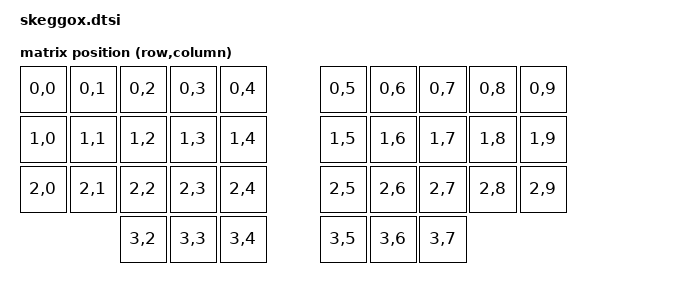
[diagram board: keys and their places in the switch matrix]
/*
 * Copyright (c) 2022 The ZMK Contributors
 *
 * SPDX-License-Identifier: MIT
 */

#include <dt-bindings/zmk/matrix_transform.h>
#include "skeggox-layout.dtsi"

&split_skeggox_layout {
    transform = <&default_transform>;
};

/ {
    chosen {
        zmk,kscan = &kscan0;
	zmk,physical_layout = &split_skeggox_layout;
        // zmk,matrix_transform = &default_transform;
    };

    default_transform: keymap_transform_0 {
        compatible = "zmk,matrix-transform";
        columns = <10>;
        rows = <4>;
//             | SW01  | SW02  | SW03  | SW04  | SW05  |  | SW05  | SW04  | SW03  | SW02  | SW01  |
//             | SW06  | SW07  | SW08  | SW09  | SW10  |  | SW10  | SW09  | SW08  | SW07  | SW06  | 
//             | SW11  | SW12  | SW13  | SW14  | SW15  |  | SW15  | SW14  | SW13  | SW12  | SW11  |
//                             | SW17  | SW18  | SW19  |  | SW19  | SW18  | SW17  | 
        map = <
                RC(0,0) RC(0,1) RC(0,2) RC(0,3) RC(0,4)    RC(0,5) RC(0,6) RC(0,7) RC(0,8) RC(0,9)
                RC(1,0) RC(1,1) RC(1,2) RC(1,3) RC(1,4)    RC(1,5) RC(1,6) RC(1,7) RC(1,8) RC(1,9)
                RC(2,0) RC(2,1) RC(2,2) RC(2,3) RC(2,4)    RC(2,5) RC(2,6) RC(2,7) RC(2,8) RC(2,9)
                                RC(3,2) RC(3,3) RC(3,4)    RC(3,5) RC(3,6) RC(3,7)         
        >;
    };

    kscan0: kscan {
		compatible = "zmk,kscan-gpio-matrix";
		diode-direction = "col2row";
		wakeup-source;
    };


    // peripheral, right hand
    split_inputs {
        #address-cells = <1>;
        #size-cells = <0>;

        tpoint_peripheral: tpoint_peripheral@0 { compatible = "zmk,input-split"; reg = <0>; };
    };

    tpoint_peripheral_listener: tpoint_peripheral_listener {
        compatible = "zmk,input-listener";
        device = <&tpoint_peripheral>;
	status = "disabled";
    };

    // central, left hand
    // #include <input/processors.dtsi>
    // #include <dt-bindings/zmk/input_transform.h>
    // #include <zephyr/dt-bindings/input/input-event-codes.h>

    tpoint_central_listener: tpoint_central_listener {
        compatible = "zmk,input-listener";
	status = "disabled";
        /*
        input-processors = <&zip_xy_transform (INPUT_TRANSFORM_XY_SWAP)>,<&zip_xy_scaler 0 1>;
        scroller {
            layers = <10>;
            //process-next;
            input-processors = <&zip_xy_transform (INPUT_TRANSFORM_XY_SWAP)>,<&zip_xy_transform (INPUT_TRANSFORM_Y_INVERT)>,<&zip_xy_scaler 1 8>,<&zip_xy_to_scroll_mapper>;
        };
        mouse {
            layers = <9>;
            input-processors = 
            <&zip_xy_transform (INPUT_TRANSFORM_XY_SWAP)>
            //, <&zip_temp_layer 9 500>
            ;
        };
        */
    };
};

